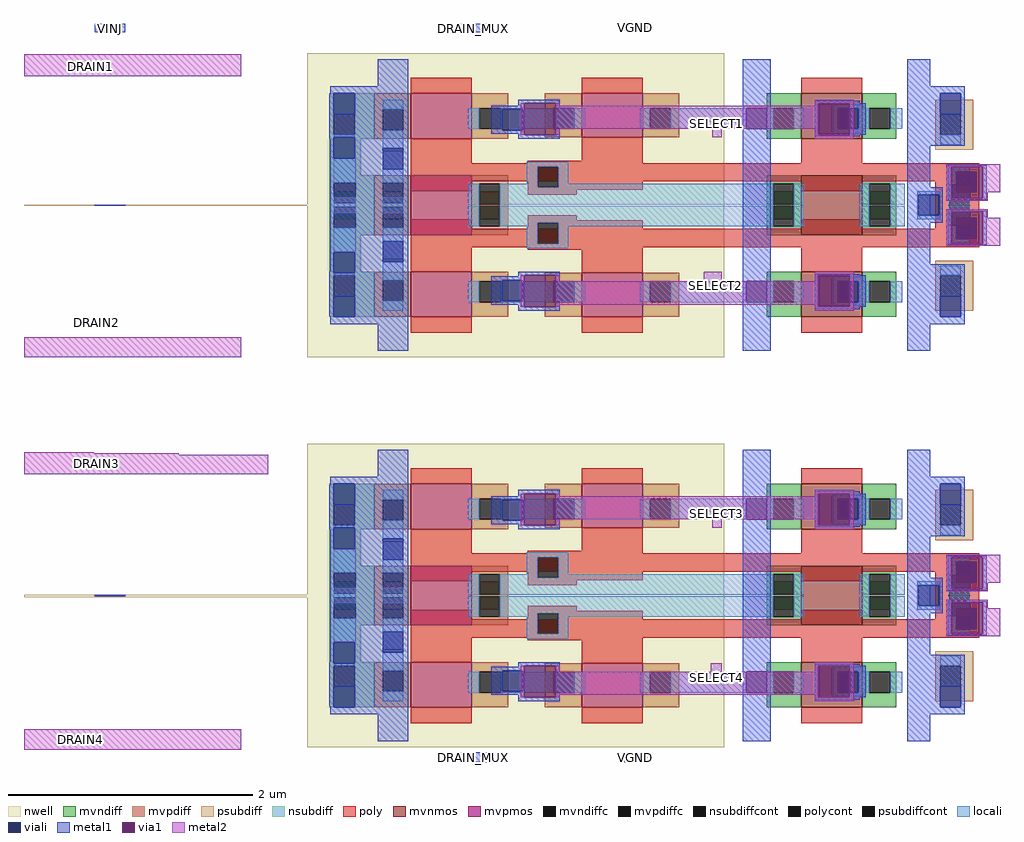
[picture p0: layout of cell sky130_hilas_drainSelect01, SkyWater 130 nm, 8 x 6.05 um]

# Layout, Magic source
magic
tech sky130A
<< nwell >>
rect 0 462 342 463
rect 0 141 342 143
<< metal1 >>
rect 58 604 83 611
rect 357 604 380 611
rect 492 606 511 611
rect 58 462 83 463
rect 58 142 83 143
rect 357 6 380 14
rect 492 6 511 13
<< metal2 >>
rect 0 568 178 586
rect 564 518 572 541
rect 557 384 572 408
rect 0 338 178 354
rect 0 259 57 260
rect 0 258 127 259
rect 0 242 200 258
rect 564 198 572 221
rect 563 64 572 87
rect 0 16 178 33
use sky130_hilas_TgateVinj01  sky130_hilas_TgateVinj01_1
transform 1 0 232 0 -1 587
box 0 0 568 170
use sky130_hilas_TgateVinj01  sky130_hilas_TgateVinj01_0
transform 1 0 232 0 1 338
box 0 0 568 170
use sky130_hilas_TgateVinj01  sky130_hilas_TgateVinj01_2
transform 1 0 232 0 1 18
box 0 0 568 170
use sky130_hilas_TgateVinj01  sky130_hilas_TgateVinj01_3
transform 1 0 232 0 -1 267
box 0 0 568 170
<< labels >>
rlabel space 57 357 62 375 0 DRAIN2
port 3 nsew analog default
rlabel metal2 57 242 62 259 0 DRAIN3
port 2 nsew
rlabel metal1 58 604 83 611 0 VINJ
port 9 nsew power default
rlabel metal1 357 604 380 611 0 DRAIN_MUX
port 10 nsew analog default
rlabel metal1 357 6 380 14 0 DRAIN_MUX
port 10 nsew analog default
rlabel metal1 492 6 511 13 0 VGND
port 11 nsew ground default
rlabel metal1 492 606 511 611 0 VGND
port 11 nsew ground default
rlabel metal2 561 385 572 408 0 SELECT2
port 14 nsew
rlabel metal2 564 518 572 541 0 SELECT1
port 15 nsew
rlabel metal2 564 198 572 221 0 SELECT3
port 16 nsew
rlabel metal2 563 64 572 87 0 SELECT4
port 17 nsew
rlabel metal2 42 16 51 33 1 DRAIN4
port 18 n
rlabel metal2 50 568 59 585 1 DRAIN1
port 19 n
<< properties >>
string LEFclass CORE
string LEFsite unithd
string LEFsymmetry X Y R90
<< end >>

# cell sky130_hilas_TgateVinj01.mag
magic
tech sky130A
<< nwell >>
rect 0 0 342 169
<< mvnmos >>
rect 405 100 455 136
rect 405 33 455 70
<< mvpmos >>
rect 85 100 135 136
rect 85 33 135 70
rect 225 33 275 69
<< mvndiff >>
rect 377 124 405 136
rect 377 107 382 124
rect 399 107 405 124
rect 377 100 405 107
rect 455 124 483 136
rect 455 107 461 124
rect 478 107 483 124
rect 455 100 483 107
rect 377 62 405 70
rect 377 45 382 62
rect 399 45 405 62
rect 377 33 405 45
rect 455 62 483 70
rect 455 45 461 62
rect 478 45 483 62
rect 455 33 483 45
<< mvpdiff >>
rect 55 123 85 136
rect 55 106 62 123
rect 79 106 85 123
rect 55 100 85 106
rect 135 124 165 136
rect 135 107 141 124
rect 158 107 165 124
rect 135 100 165 107
rect 55 63 85 70
rect 55 46 62 63
rect 79 46 85 63
rect 55 33 85 46
rect 135 62 165 70
rect 135 45 141 62
rect 159 45 165 62
rect 135 33 165 45
rect 195 62 225 69
rect 195 45 202 62
rect 219 45 225 62
rect 195 33 225 45
rect 275 62 305 69
rect 275 45 281 62
rect 298 45 305 62
rect 275 33 305 45
<< mvndiffc >>
rect 382 107 399 124
rect 461 107 478 124
rect 382 45 399 62
rect 461 45 478 62
<< mvpdiffc >>
rect 62 106 79 123
rect 141 107 158 124
rect 62 46 79 63
rect 141 45 159 62
rect 202 45 219 62
rect 281 45 298 62
<< psubdiff >>
rect 515 67 546 79
rect 515 50 519 67
rect 536 50 546 67
rect 515 38 546 50
<< nsubdiff >>
rect 18 123 55 136
rect 18 106 22 123
rect 40 106 55 123
rect 18 100 55 106
rect 18 70 44 100
rect 18 67 55 70
rect 18 50 22 67
rect 39 50 55 67
rect 18 33 55 50
<< psubdiffcont >>
rect 519 50 536 67
<< nsubdiffcont >>
rect 22 106 40 123
rect 22 50 39 67
<< poly >>
rect 85 144 551 159
rect 85 136 135 144
rect 405 136 455 144
rect 515 141 551 144
rect 181 112 221 116
rect 181 110 275 112
rect 85 70 135 100
rect 181 93 189 110
rect 206 93 275 110
rect 515 124 526 141
rect 543 124 551 141
rect 515 119 551 124
rect 181 88 275 93
rect 225 69 275 88
rect 405 70 455 100
rect 85 20 135 33
rect 225 20 275 33
rect 405 20 455 33
<< polycont >>
rect 189 93 206 110
rect 526 124 543 141
<< locali >>
rect 526 141 543 149
rect 22 123 40 131
rect 22 86 40 106
rect 62 123 79 131
rect 132 107 141 124
rect 158 110 382 124
rect 158 107 189 110
rect 62 95 79 106
rect 22 67 39 69
rect 180 93 189 107
rect 206 107 382 110
rect 399 107 407 124
rect 453 107 461 124
rect 478 107 490 124
rect 526 114 543 124
rect 206 93 214 107
rect 526 97 532 114
rect 526 93 543 97
rect 180 89 214 93
rect 62 63 79 78
rect 519 67 536 75
rect 62 38 79 46
rect 132 45 141 62
rect 159 46 160 62
rect 431 62 455 66
rect 177 46 202 62
rect 159 45 202 46
rect 219 45 228 62
rect 273 45 281 62
rect 298 45 360 62
rect 377 45 382 62
rect 399 45 407 62
rect 431 45 435 62
rect 452 45 461 62
rect 478 45 488 62
rect 431 42 455 45
<< viali >>
rect 22 69 39 86
rect 22 33 39 50
rect 62 78 79 95
rect 532 97 549 114
rect 160 46 177 63
rect 360 45 377 62
rect 435 45 452 62
rect 519 33 536 50
<< metal1 >>
rect 58 134 83 169
rect 19 95 83 134
rect 19 86 62 95
rect 19 70 22 86
rect 18 69 22 70
rect 39 78 62 86
rect 79 78 83 95
rect 39 69 83 78
rect 18 50 83 69
rect 173 67 207 70
rect 173 66 178 67
rect 18 34 22 50
rect 19 33 22 34
rect 39 33 83 50
rect 151 63 178 66
rect 151 46 160 63
rect 177 46 178 63
rect 151 43 178 46
rect 173 41 178 43
rect 204 62 207 67
rect 357 62 380 170
rect 492 76 511 170
rect 525 119 557 120
rect 525 93 528 119
rect 554 93 557 119
rect 525 92 557 93
rect 204 45 219 62
rect 357 45 360 62
rect 377 45 380 62
rect 204 41 207 45
rect 173 38 207 41
rect 19 27 83 33
rect 58 5 83 27
rect 357 5 380 45
rect 416 67 453 68
rect 416 41 419 67
rect 445 62 458 67
rect 452 45 458 62
rect 445 41 458 45
rect 492 50 539 76
rect 416 39 453 41
rect 492 33 519 50
rect 536 33 539 50
rect 492 27 539 33
rect 492 5 511 27
<< via1 >>
rect 178 41 204 67
rect 528 114 554 119
rect 528 97 532 114
rect 532 97 549 114
rect 549 97 554 114
rect 528 93 554 97
rect 419 62 445 67
rect 419 45 435 62
rect 435 45 445 62
rect 419 41 445 45
<< metal2 >>
rect 524 119 558 121
rect 524 93 528 119
rect 554 114 558 119
rect 554 93 568 114
rect 524 91 568 93
rect 416 67 448 70
rect 175 41 178 67
rect 204 62 207 67
rect 416 62 419 67
rect 204 43 419 62
rect 204 41 207 43
rect 416 41 419 43
rect 445 41 448 67
rect 416 38 448 41
use sky130_hilas_li2m1  sky130_hilas_li2m1_0
transform 1 0 498 0 1 110
box 0 0 23 29
<< properties >>
string LEFclass CORE
string LEFsite unithd
string LEFsymmetry X Y R90
<< end >>

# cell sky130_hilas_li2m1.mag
magic
tech sky130A
<< locali >>
rect 2 23 21 26
rect 2 6 3 23
rect 20 6 21 23
rect 2 3 21 6
<< viali >>
rect 3 6 20 23
<< metal1 >>
rect 0 23 23 29
rect 0 6 3 23
rect 20 6 23 23
rect 0 0 23 6
<< properties >>
string LEFclass CORE
string LEFsite unithd
string LEFsymmetry X Y R90
<< end >>
